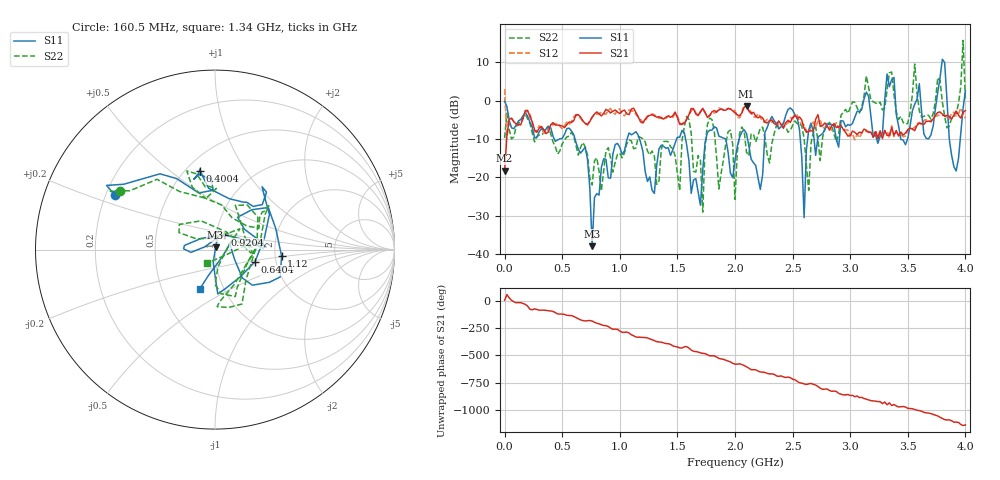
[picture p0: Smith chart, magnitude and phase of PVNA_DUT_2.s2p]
! PocketVna 1.78  pocketvna.com
! Live measurements ((Reflection-S11, Transmission-S21, Transmission-S12, Reflection-S22) Linear 500000-4000000000/201 calibrated)
# Hz S RI R 50
! Hz  ReS11  ImS11  ReS21  ImS21  ReS12  ImS12  ReS22  ImS22
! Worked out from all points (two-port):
!   201 points, 500 kHz to 4 GHz, reference 50 ohm
!   highest |S21| = -1.40 dB at 2.1 GHz (marker M1); lowest = -18.3 dB at 500 kHz (marker M2)
!   |S21| within 3 dB of the highest: 758.9 MHz to 1.163 GHz (403.8 MHz wide, 42 % of centre); 1.589 GHz to 2.195 GHz (606.4 MHz wide, 32 % of centre) (the widest 2 of 13)
!   lowest |S11| = -37.9 dB at 760.4 MHz (marker M3), VSWR 1.03, Z = 50.3 + j1.24 ohm
!   |S11| at or under -10 dB: 611.5 MHz to 1.064 GHz (452.6 MHz wide, 54 % of centre); 1.171 GHz to 1.494 GHz (323.2 MHz wide, 24.2 % of centre); 1.571 GHz to 1.748 GHz (177 MHz wide, 10.7 % of centre) (the widest 3 of 12)
!   |S22| runs from -29.0 to 15.6 dB; largest |S21 - S12| = 1.3
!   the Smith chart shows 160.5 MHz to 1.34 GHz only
!   S11 on the Smith chart (normalised r, x): 160.5 MHz: 0.24, +0.24; 400.4 MHz: 0.59, +0.64; 640.4 MHz: 1.55, -0.22; 920.4 MHz: 1.09, +0.18; 1.12 GHz: 2.17, -0.19; 1.34 GHz: 0.77, -0.36
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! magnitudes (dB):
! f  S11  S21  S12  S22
! 500 kHz  -0.2  -18.3  3.0  -9.7
! 160.5 MHz  -4.0  -4.7  -4.5  -4.1
! 400.4 MHz  -7.0  -6.3  -6.3  -8.6
! 640.4 MHz  -12.7  -3.7  -4.2  -14.2
! 680.4 MHz  -12.9  -5.3  -5.3  -10.9
! 760.4 MHz  -37.9  -4.3  -4.3  -22.0
! 920.4 MHz  -20.2  -3.2  -2.1  -15.0
! 1.12 GHz  -8.6  -2.0  -2.7  -12.5
! 1.34 GHz  -12.6  -4.2  -4.6  -21.0
! 1.58 GHz  -11.5  -5.0  -4.8  -4.1
! 1.72 GHz  -18.0  -2.0  -2.1  -29.0
! 1.78 GHz  -7.8  -3.9  -3.8  -4.6
! 2 GHz  -15.6  -3.2  -2.7  -25.7
! 2.1 GHz  -8.6  -1.4  -1.1  -13.5
! 2.5 GHz  -2.5  -4.4  -4.7  -6.4
! 2.6 GHz  -30.5  -7.3  -6.4  -9.9
! 2.68 GHz  -8.1  -7.9  -5.6  -8.3
! 3.34 GHz  3.6  -9.0  -9.8  7.2
! 3.68 GHz  -10.0  -5.4  -5.2  -3.8
! 3.8 GHz  10.8  -3.5  -3.8  -0.3
! 3.92 GHz  -18.3  -2.7  -4.0  -3.3
! 4 GHz  2.6  -2.6  -4.6  0.4
